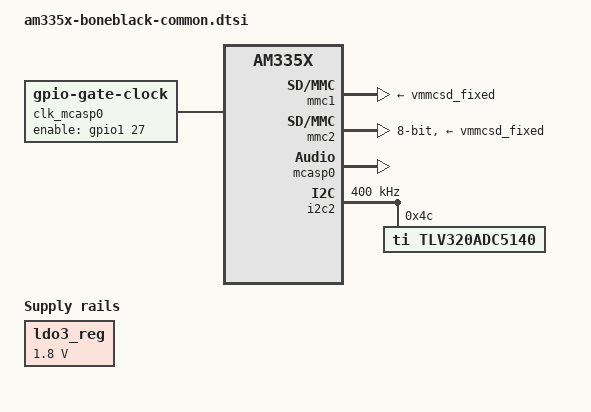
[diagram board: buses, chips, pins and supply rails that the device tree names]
/*
 * Copyright (C) 2012 Texas Instruments Incorporated - http://www.ti.com/
 *
 * This program is free software; you can redistribute it and/or modify
 * it under the terms of the GNU General Public License version 2 as
 * published by the Free Software Foundation.
 */

#include <dt-bindings/display/tda998x.h>
#include <dt-bindings/interrupt-controller/irq.h>

&ldo3_reg {
	regulator-min-microvolt = <1800000>;
	regulator-max-microvolt = <1800000>;
	regulator-always-on;
};

&mmc1 {
	vmmc-supply = <&vmmcsd_fixed>;
};

&mmc2 {
	vmmc-supply = <&vmmcsd_fixed>;
	pinctrl-names = "default";
	pinctrl-0 = <&emmc_pins>;
	bus-width = <8>;
	status = "okay";
};

&am33xx_pinmux {
	mcasp0_pins: mcasp0_pins {
		pinctrl-single,pins = <
			AM33XX_IOPAD(0x9ac, PIN_INPUT_PULLUP | MUX_MODE0) /* mcasp0_ahcklx.mcasp0_ahclkx */
			AM33XX_IOPAD(0x99c, PIN_OUTPUT_PULLDOWN | MUX_MODE2) /* mcasp0_ahclkr.mcasp0_axr2*/
			AM33XX_IOPAD(0x994, PIN_OUTPUT_PULLUP | MUX_MODE0) /* mcasp0_fsx.mcasp0_fsx */
			AM33XX_IOPAD(0x990, PIN_OUTPUT_PULLDOWN | MUX_MODE0) /* mcasp0_aclkx.mcasp0_aclkx */
			AM33XX_IOPAD(0x86c, PIN_OUTPUT_PULLDOWN | MUX_MODE7) /* gpmc_a11.GPIO1_27 */
		>;
	};

	tlv320adc5140_default: tlv320adc5140_default {
		pinctrl-single,pins = <
			AM33XX_IOPAD(0x844, PIN_OUTPUT_PULLUP | MUX_MODE7 ) /* gpmc_a1.gpio1_17 */
			AM33XX_IOPAD(0x878, PIN_INPUT | MUX_MODE7 ) /* gpmc_ben1.gpio1_28 */
		>;
	};
};

&rtc {
	system-power-controller;
};

&mcasp0	{
	#sound-dai-cells = <0>;
	pinctrl-names = "default";
	pinctrl-0 = <&mcasp0_pins>;
	status = "okay";
	op-mode = <0>;	/* MCASP_IIS_MODE */
	tdm-slots = <2>;
	serial-dir = <	/* 0: INACTIVE, 1: TX, 2: RX */
			0 0 1 0
		>;
	tx-num-evt = <32>;
	rx-num-evt = <32>;
};

/ {
	clk_mcasp0_fixed: clk_mcasp0_fixed {
		#clock-cells = <0>;
		compatible = "fixed-clock";
		clock-frequency = <24576000>;
	};

	clk_mcasp0: clk_mcasp0 {
		#clock-cells = <0>;
		compatible = "gpio-gate-clock";
		clocks = <&clk_mcasp0_fixed>;
		enable-gpios = <&gpio1 27 0>; /* BeagleBone Black Clk enable on GPIO1_27 */
	};

	sound {
		compatible = "simple-audio-card";
		simple-audio-card,name = "TI BeagleBone Black";
		simple-audio-card,format = "i2s";
		simple-audio-card,bitclock-master = <&dailink0_master>;
		simple-audio-card,frame-master = <&dailink0_master>;
		simple-audio-card,widgets =
			"Microphone", "Mic Jack";
		simple-audio-card,routing =
			"MIC1P",		"Mic Jack",
			"MIC1P",		"Mic Jack";

		dailink0_master: simple-audio-card,cpu {
			sound-dai = <&mcasp0>;
			clocks = <&clk_mcasp0>;
		};

		simple-audio-card,codec {
			sound-dai = <&tlv320adc5140>;
			clocks = <&clk_mcasp0>;
		};
	};
};

&i2c2 {
	pinctrl-names = "default";
	pinctrl-0 = <&i2c2_pins>;

	status = "okay";
	clock-frequency = <400000>;

	tlv320adc5140: tlv320adc5140@4c {
		status = "okay";
		#sound-dai-cells = <0>;
		compatible = "ti,tlv320adc5140";
		reg = <0x4c>;

		pinctrl-names = "default";
		pinctrl-0 = <&tlv320adc5140_default>;
	};
};
